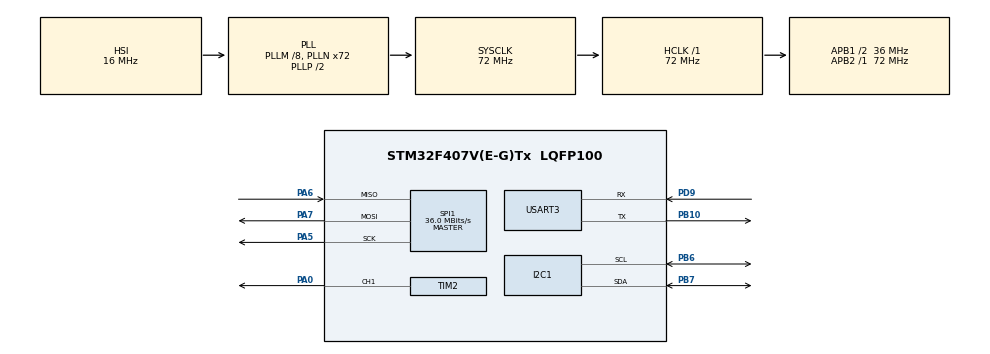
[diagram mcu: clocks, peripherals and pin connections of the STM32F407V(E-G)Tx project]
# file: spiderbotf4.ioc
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Dma.I2C1_RX.0.Direction=DMA_PERIPH_TO_MEMORY
Dma.I2C1_RX.0.FIFOMode=DMA_FIFOMODE_DISABLE
Dma.I2C1_RX.0.Instance=DMA1_Stream0
Dma.I2C1_RX.0.MemDataAlignment=DMA_MDATAALIGN_BYTE
Dma.I2C1_RX.0.MemInc=DMA_MINC_ENABLE
Dma.I2C1_RX.0.Mode=DMA_NORMAL
Dma.I2C1_RX.0.PeriphDataAlignment=DMA_PDATAALIGN_BYTE
Dma.I2C1_RX.0.PeriphInc=DMA_PINC_DISABLE
Dma.I2C1_RX.0.Priority=DMA_PRIORITY_LOW
Dma.I2C1_TX.1.Direction=DMA_MEMORY_TO_PERIPH
Dma.I2C1_TX.1.FIFOMode=DMA_FIFOMODE_DISABLE
Dma.I2C1_TX.1.Instance=DMA1_Stream6
Dma.I2C1_TX.1.MemDataAlignment=DMA_MDATAALIGN_BYTE
Dma.I2C1_TX.1.MemInc=DMA_MINC_ENABLE
Dma.I2C1_TX.1.Mode=DMA_NORMAL
Dma.I2C1_TX.1.PeriphDataAlignment=DMA_PDATAALIGN_BYTE
Dma.I2C1_TX.1.PeriphInc=DMA_PINC_DISABLE
Dma.I2C1_TX.1.Priority=DMA_PRIORITY_LOW
Dma.Request0=I2C1_RX
Dma.Request1=I2C1_TX
Mcu.Family=STM32F4
Mcu.Name=STM32F407V(E-G)Tx
Mcu.Package=LQFP100
NVIC.DMA1_Stream0_IRQn=true\:5\:0\:true\:false\:true\:false\:true\:true
NVIC.DMA1_Stream6_IRQn=true\:5\:0\:true\:false\:true\:false\:true\:true
NVIC.I2C1_EV_IRQn=true\:0\:0\:false\:false\:true\:true\:true\:true
NVIC.PriorityGroup=NVIC_PRIORITYGROUP_4
NVIC.TIM2_IRQn=true\:0\:0\:true\:false\:true\:true\:true\:true
PA0-WKUP.Signal=S_TIM2_CH1_ETR
PA13.Mode=Serial_Wire
PA13.Signal=SYS_JTMS-SWDIO
PA14.Mode=Serial_Wire
PA14.Signal=SYS_JTCK-SWCLK
PA5.Mode=Full_Duplex_Master
PA5.Signal=SPI1_SCK
PA6.Mode=Full_Duplex_Master
PA6.Signal=SPI1_MISO
PA7.Mode=Full_Duplex_Master
PA7.Signal=SPI1_MOSI
PB10.Mode=Asynchronous
PB10.Signal=USART3_TX
PB6.Mode=I2C
PB6.Signal=I2C1_SCL
PB7.Mode=I2C
PB7.Signal=I2C1_SDA
PD5.Signal=USART2_TX
PD6.Signal=USART2_RX
PD9.Mode=Asynchronous
PD9.Signal=USART3_RX
PH0-OSC_IN.Mode=HSE-External-Oscillator
PH0-OSC_IN.Signal=RCC_OSC_IN
PH1-OSC_OUT.Mode=HSE-External-Oscillator
PH1-OSC_OUT.Signal=RCC_OSC_OUT
ProjectManager.HeapSize=0x200
ProjectManager.StackSize=0x400
ProjectManager.TargetToolchain=STM32CubeIDE
RCC.48MHZClocksFreq_Value=36000000
RCC.AHBFreq_Value=72000000
RCC.APB1CLKDivider=RCC_HCLK_DIV2
RCC.APB1Freq_Value=36000000
RCC.APB1TimFreq_Value=72000000
RCC.APB2Freq_Value=72000000
RCC.APB2TimFreq_Value=72000000
RCC.CortexFreq_Value=72000000
RCC.HCLKFreq_Value=72000000
RCC.HSE_VALUE=25000000
RCC.HSI_VALUE=16000000
RCC.LSE_VALUE=32768
RCC.PLLM=8
RCC.PLLN=72
RCC.SYSCLKFreq_VALUE=72000000
RCC.SYSCLKSource=RCC_SYSCLKSOURCE_PLLCLK
RCC.VCOOutputFreq_Value=144000000
SH.S_TIM2_CH1_ETR.0=TIM2_CH1,PWM Generation1 CH1
SPI1.CalculateBaudRate=36.0 MBits/s
SPI1.Direction=SPI_DIRECTION_2LINES
SPI1.Mode=SPI_MODE_MASTER
SPI1.VirtualType=VM_MASTER
TIM2.Channel-PWM\ Generation1\ CH1=TIM_CHANNEL_1
TIM2.Period=9999
TIM2.Prescaler=143
USART3.VirtualMode=VM_ASYNC
VP_TIM2_VS_ClockSourceINT.Mode=Internal
board=custom

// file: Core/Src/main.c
/* USER CODE BEGIN Header */
/**
 ******************************************************************************
 * @file           : main.c
 * @brief          : Main program body
 ******************************************************************************
 * @attention
 *
 * Copyright (c) 2024 STMicroelectronics.
 * All rights reserved.
 *
 * This software is licensed under terms that can be found in the LICENSE file
 * in the root directory of this software component.
 * If no LICENSE file comes with this software, it is provided AS-IS.
 *
 ******************************************************************************
 */
/* USER CODE END Header */
#include "main.h"

/* USER CODE BEGIN Includes */
#include "control.h"
#include "pca9685.h"
#include "stdio.h"
#include "servo.h"
//#include "string.h"

/* USER CODE END Includes */

/* USER CODE BEGIN PD */
#define SERVO_COUNT	5

/* USER CODE END PD */

I2C_HandleTypeDef hi2c1;
DMA_HandleTypeDef hdma_i2c1_rx;
DMA_HandleTypeDef hdma_i2c1_tx;

SPI_HandleTypeDef hspi1;

TIM_HandleTypeDef htim2;

UART_HandleTypeDef huart3;

/* USER CODE BEGIN PV */
uint8_t ActiveServo;

//NRF Variables
//uint8_t NRF_RxAddress[5] = { 0xEE, 0xDD, 0xCC, 0xBB, 0xAA };
//uint8_t NRF_TxAddress[5] = { 0xEE, 0xDD, 0xCC, 0xBB, 0xAA };

float Servo_val[12] = { 120, 60, 50, 90, 90, 90, 90, 90, 90, 90, 90, 90 };
extern float startAngle[12];
float endAngle[12];
extern float currentAngle[12]; //4/4
uint8_t flag_pca_tx = 0, flag_pca_rx = 0;
uint32_t Time_start, Time_end, Time_measure;

//char TxData[50];
float pitch1;
float yaw1;
float roll1;
extern float deltat, Now;
//uint8_t tim2_it_flag = 0;
//float b[6];
//float c[6];
//float gyroBias[3] = { 0, 0, 0 };
//float accelBias[3] = { 0, 0, 0 };
//float SelfTest[6];
uint8_t MPU_Flag = 0;
volatile uint8_t MPU_Counter = 0;
volatile uint8_t MPU_Rx_Flag = 0;
//float currentAngle[12] = { 48, 180, 0, 95, 180, 0, 95, 180, 0, 48, 180, 0 };
uint16_t time = 500;
uint16_t TK = 0; //move
float angle;
//Leg length
//a1 = 56.84
//a2 = 114
//a3 = 170.74
//a1 + a2 = 284.74
//a1 + a2 + a3 = 341.58
float x = 284.74;
float y = 0;
float z = 0;

uint8_t timer2_counter = 0;
uint8_t it_timer_flag = 0;
uint32_t time_do = 0;
uint32_t Time_end = 0;

//PID
extern float Roll_E0, Roll_E1, Roll_E2;
extern float Pitch_E0, Pitch_E1, Pitch_E2;
extern float Yaw_E0, Yaw_E1, Yaw_E2;
extern float Roll_Pre, Pitch_Pre, Yaw_Pre;
extern float Roll_Ref, Pitch_Ref, Yaw_Ref;
extern float Roll_u, Roll_u1, Pitch_u, Pitch_u1, Yaw_u, Yaw_u1;
extern float Kp, Ki, Kd;
float T_PID, T_PID_pre;
float T_PID_Yaw, T_PID_Yaw_pre;
//Control
uint8_t Mode = 10;
extern Leg_t LegLF;
extern Leg_t LegLR;
extern Leg_t LegRF;
extern Leg_t LegRR;
extern Servo_t *array_Servo[12];
extern Leg_t *array_Leg[4];
/* USER CODE END PV */

void SystemClock_Config(void);
static void MX_GPIO_Init(void);
static void MX_DMA_Init(void);
static void MX_I2C1_Init(void);
static void MX_SPI1_Init(void);
static void MX_TIM2_Init(void);
static void MX_USART3_UART_Init(void);

/* USER CODE BEGIN 0 */
void doichut(float time)  //HAL_delay
{
	uint32_t start  = HAL_GetTick();
	while ((HAL_GetTick()- start) <  time)
			{
		          //wait for time ms
			}
}
/* USER CODE END 0 */

int main(void)
{

  /* MCU Configuration--------------------------------------------------------*/

  /* Reset of all peripherals, Initializes the Flash interface and the Systick. */
  HAL_Init();

  /* Configure the system clock */
  SystemClock_Config();

  /* Initialize all configured peripherals */
  MX_GPIO_Init();
  MX_DMA_Init();
  MX_I2C1_Init();
  MX_SPI1_Init();
  MX_TIM2_Init();
  MX_USART3_UART_Init();
  /* USER CODE BEGIN 2 */

//	PCA
    PCA9685_Init(&hi2c1);

	HAL_GPIO_TogglePin(GPIOD, GPIO_PIN_13);
//	HAL_Delay(2000);

//	HAL_Delay(2000);
  Spider_Sit();
  Spider_Init();
  Spider_stand();
//	HAL_TIM_PWM_Start(&htim2, TIM_CHANNEL_1);

	//Spider_stand();
	HAL_TIM_PWM_Start(&htim2, TIM_CHANNEL_1);
	//After setup complete, start timer 2
	HAL_TIM_Base_Start_IT(&htim2);
//	ControlServoDirect(&Servo6, 46 )  ;
//	ControlServoDirect(&Servo7, 103 )  ;
//	ControlServoDirect(&Servo8, 45 )  ;

  /* USER CODE END 2 */

  /* Infinite loop */
  /* USER CODE BEGIN WHILE */
	while (1) {
		//Spider_stand();
        //doichut(5000);
        Spider_Step_Forward();
        doichut(1000);
        Spider_Turn_Left();

				// Move from 180 to 0 degrees

					//ControlServoDirect(&Servo2,  angle)  ;

		  }

    /* USER CODE END WHILE */

}

void SystemClock_Config(void)
{
  RCC_OscInitTypeDef RCC_OscInitStruct = {0};
  RCC_ClkInitTypeDef RCC_ClkInitStruct = {0};

  /** Configure the main internal regulator output voltage
  */
  __HAL_RCC_PWR_CLK_ENABLE();
  __HAL_PWR_VOLTAGESCALING_CONFIG(PWR_REGULATOR_VOLTAGE_SCALE1);

  /** Initializes the RCC Oscillators according to the specified parameters
  * in the RCC_OscInitTypeDef structure.
  */
  RCC_OscInitStruct.OscillatorType = RCC_OSCILLATORTYPE_HSI;
  RCC_OscInitStruct.HSIState = RCC_HSI_ON;
  RCC_OscInitStruct.HSICalibrationValue = RCC_HSICALIBRATION_DEFAULT;
  RCC_OscInitStruct.PLL.PLLState = RCC_PLL_ON;
  RCC_OscInitStruct.PLL.PLLSource = RCC_PLLSOURCE_HSI;
  RCC_OscInitStruct.PLL.PLLM = 8;
  RCC_OscInitStruct.PLL.PLLN = 72;
  RCC_OscInitStruct.PLL.PLLP = RCC_PLLP_DIV2;
  RCC_OscInitStruct.PLL.PLLQ = 4;
  if (HAL_RCC_OscConfig(&RCC_OscInitStruct) != HAL_OK)
  {
    Error_Handler();
  }

  /** Initializes the CPU, AHB and APB buses clocks
  */
  RCC_ClkInitStruct.ClockType = RCC_CLOCKTYPE_HCLK|RCC_CLOCKTYPE_SYSCLK
                              |RCC_CLOCKTYPE_PCLK1|RCC_CLOCKTYPE_PCLK2;
  RCC_ClkInitStruct.SYSCLKSource = RCC_SYSCLKSOURCE_PLLCLK;
  RCC_ClkInitStruct.AHBCLKDivider = RCC_SYSCLK_DIV1;
  RCC_ClkInitStruct.APB1CLKDivider = RCC_HCLK_DIV2;
  RCC_ClkInitStruct.APB2CLKDivider = RCC_HCLK_DIV1;

  if (HAL_RCC_ClockConfig(&RCC_ClkInitStruct, FLASH_LATENCY_2) != HAL_OK)
  {
    Error_Handler();
  }
}

static void MX_I2C1_Init(void)
{

  hi2c1.Instance = I2C1;
  hi2c1.Init.ClockSpeed = 100000;
  hi2c1.Init.DutyCycle = I2C_DUTYCYCLE_2;
  hi2c1.Init.OwnAddress1 = 0;
  hi2c1.Init.AddressingMode = I2C_ADDRESSINGMODE_7BIT;
  hi2c1.Init.DualAddressMode = I2C_DUALADDRESS_DISABLE;
  hi2c1.Init.OwnAddress2 = 0;
  hi2c1.Init.GeneralCallMode = I2C_GENERALCALL_DISABLE;
  hi2c1.Init.NoStretchMode = I2C_NOSTRETCH_DISABLE;
  if (HAL_I2C_Init(&hi2c1) != HAL_OK)
  {
    Error_Handler();
  }

}

static void MX_SPI1_Init(void)
{

  /* SPI1 parameter configuration*/
  hspi1.Instance = SPI1;
  hspi1.Init.Mode = SPI_MODE_MASTER;
  hspi1.Init.Direction = SPI_DIRECTION_2LINES;
  hspi1.Init.DataSize = SPI_DATASIZE_8BIT;
  hspi1.Init.CLKPolarity = SPI_POLARITY_LOW;
  hspi1.Init.CLKPhase = SPI_PHASE_1EDGE;
  hspi1.Init.NSS = SPI_NSS_SOFT;
  hspi1.Init.BaudRatePrescaler = SPI_BAUDRATEPRESCALER_2;
  hspi1.Init.FirstBit = SPI_FIRSTBIT_MSB;
  hspi1.Init.TIMode = SPI_TIMODE_DISABLE;
  hspi1.Init.CRCCalculation = SPI_CRCCALCULATION_DISABLE;
  hspi1.Init.CRCPolynomial = 10;
  if (HAL_SPI_Init(&hspi1) != HAL_OK)
  {
    Error_Handler();
  }

}

static void MX_TIM2_Init(void)
{

  TIM_ClockConfigTypeDef sClockSourceConfig = {0};
  TIM_MasterConfigTypeDef sMasterConfig = {0};
  TIM_OC_InitTypeDef sConfigOC = {0};

  htim2.Instance = TIM2;
  htim2.Init.Prescaler = 143;
  htim2.Init.CounterMode = TIM_COUNTERMODE_UP;
  htim2.Init.Period = 9999;
  htim2.Init.ClockDivision = TIM_CLOCKDIVISION_DIV1;
  htim2.Init.AutoReloadPreload = TIM_AUTORELOAD_PRELOAD_DISABLE;
  if (HAL_TIM_Base_Init(&htim2) != HAL_OK)
  {
    Error_Handler();
  }
  sClockSourceConfig.ClockSource = TIM_CLOCKSOURCE_INTERNAL;
  if (HAL_TIM_ConfigClockSource(&htim2, &sClockSourceConfig) != HAL_OK)
  {
    Error_Handler();
  }
  if (HAL_TIM_PWM_Init(&htim2) != HAL_OK)
  {
    Error_Handler();
  }
  sMasterConfig.MasterOutputTrigger = TIM_TRGO_RESET;
  sMasterConfig.MasterSlaveMode = TIM_MASTERSLAVEMODE_DISABLE;
  if (HAL_TIMEx_MasterConfigSynchronization(&htim2, &sMasterConfig) != HAL_OK)
  {
    Error_Handler();
  }
  sConfigOC.OCMode = TIM_OCMODE_PWM1;
  sConfigOC.Pulse = 0;
  sConfigOC.OCPolarity = TIM_OCPOLARITY_HIGH;
  sConfigOC.OCFastMode = TIM_OCFAST_DISABLE;
  if (HAL_TIM_PWM_ConfigChannel(&htim2, &sConfigOC, TIM_CHANNEL_1) != HAL_OK)
  {
    Error_Handler();
  }
  HAL_TIM_MspPostInit(&htim2);

}

static void MX_USART3_UART_Init(void)
{

  huart3.Instance = USART3;
  huart3.Init.BaudRate = 115200;
  huart3.Init.WordLength = UART_WORDLENGTH_8B;
  huart3.Init.StopBits = UART_STOPBITS_1;
  huart3.Init.Parity = UART_PARITY_NONE;
  huart3.Init.Mode = UART_MODE_TX_RX;
  huart3.Init.HwFlowCtl = UART_HWCONTROL_NONE;
  huart3.Init.OverSampling = UART_OVERSAMPLING_16;
  if (HAL_UART_Init(&huart3) != HAL_OK)
  {
    Error_Handler();
  }

}

static void MX_DMA_Init(void)
{

  /* DMA controller clock enable */
  __HAL_RCC_DMA1_CLK_ENABLE();

  /* DMA interrupt init */
  /* DMA1_Stream0_IRQn interrupt configuration */
  HAL_NVIC_SetPriority(DMA1_Stream0_IRQn, 5, 0);
  HAL_NVIC_EnableIRQ(DMA1_Stream0_IRQn);
  /* DMA1_Stream6_IRQn interrupt configuration */
  HAL_NVIC_SetPriority(DMA1_Stream6_IRQn, 5, 0);
  HAL_NVIC_EnableIRQ(DMA1_Stream6_IRQn);

}

static void MX_GPIO_Init(void)
{
  GPIO_InitTypeDef GPIO_InitStruct = {0};

  /* GPIO Ports Clock Enable */
  __HAL_RCC_GPIOH_CLK_ENABLE();
  __HAL_RCC_GPIOA_CLK_ENABLE();
  __HAL_RCC_GPIOB_CLK_ENABLE();
  __HAL_RCC_GPIOD_CLK_ENABLE();

  /*Configure GPIO pins : PD5 PD6 */
  GPIO_InitStruct.Pin = GPIO_PIN_5|GPIO_PIN_6;
  GPIO_InitStruct.Mode = GPIO_MODE_AF_PP;
  GPIO_InitStruct.Pull = GPIO_NOPULL;
  GPIO_InitStruct.Speed = GPIO_SPEED_FREQ_VERY_HIGH;
  GPIO_InitStruct.Alternate = GPIO_AF7_USART2;
  HAL_GPIO_Init(GPIOD, &GPIO_InitStruct);

}

/* USER CODE BEGIN 4 */

void HAL_I2C_MasterTxCpltCallback(I2C_HandleTypeDef *hi2c) {
//	if(hi2c == &hi2c2)
//		flag_pca_tx = 1;
	if(hi2c == &hi2c1){
//		MPU_Rx_Flag = 1;
//		HAL_GPIO_TogglePin(GPIOD, GPIO_PIN_12);
	}
	// TX Done .. Do Something!
}
void HAL_I2C_MasterRxCpltCallback(I2C_HandleTypeDef *hi2c) {
	// RX Done .. Do Something!
//	if(hi2c == &hi2c2)
//		flag_pca_rx = 1;
	if(hi2c == &hi2c1){
//		MPU_Rx_Flag = 1;
//		HAL_GPIO_TogglePin(GPIOD, GPIO_PIN_13);
	}
}
void HAL_I2C_MemTxCpltCallback(I2C_HandleTypeDef *hi2c){
	if(hi2c == &hi2c1){
//		MPU_Rx_Flag = 1;
//		HAL_GPIO_TogglePin(GPIOD, GPIO_PIN_14);
	}
}
void HAL_I2C_MemRxCpltCallback(I2C_HandleTypeDef *hi2c){
	if(hi2c == &hi2c1){
		MPU_Rx_Flag = 1;
		HAL_GPIO_TogglePin(GPIOD, GPIO_PIN_12);
	}
}
void HAL_TIM_PeriodElapsedCallback(TIM_HandleTypeDef *htim) {
	if (htim->Instance == TIM2) {
	    HAL_IncTick();
	}
}
void Str_to_float(uint16_t u, uint8_t *y) {

	//y[5] = '\r';
	y[2] = u % 10 + 0x30;
	u = u / 10;
	y[1] = u % 10 + 0x30;
	u = u / 10;
	y[0] = u % 10 + 0x30;
}
void Get_PID(uint8_t array[]){
	uint8_t kp_pos=0, ki_pos=0, kd_pos=0;
	for(int i=0; i<32; i++){
		if(array[i] == '.'){
			if(kp_pos == 0)
				kp_pos = i;
			else if(ki_pos == 0)
				ki_pos = i;
			else if(kd_pos == 0)
				kd_pos = i;
		}
//		else if(array[i] == '\r')
//			end = i;
	}
	float a = 1;
	Kp = array[kp_pos-1] - 48;
	Ki = array[ki_pos-1] - 48;
	Kd = array[kd_pos-1] - 48;
	for(int i = 0; i<4; i++){
		a /= 10;
		Kp += (array[kp_pos+i+1] - 48)*a;
		Ki += (array[ki_pos+i+1] - 48)*a;
		Kd += (array[kd_pos+i+1] - 48)*a;
	}
}
/* USER CODE END 4 */

void Error_Handler(void)
{
  /* USER CODE BEGIN Error_Handler_Debug */

	/* User can add his own implementation to report the HAL error return state */
	__disable_irq();
	while (1) {
		HAL_GPIO_WritePin(GPIOD, GPIO_PIN_15, SET);
	}
  /* USER CODE END Error_Handler_Debug */
}
